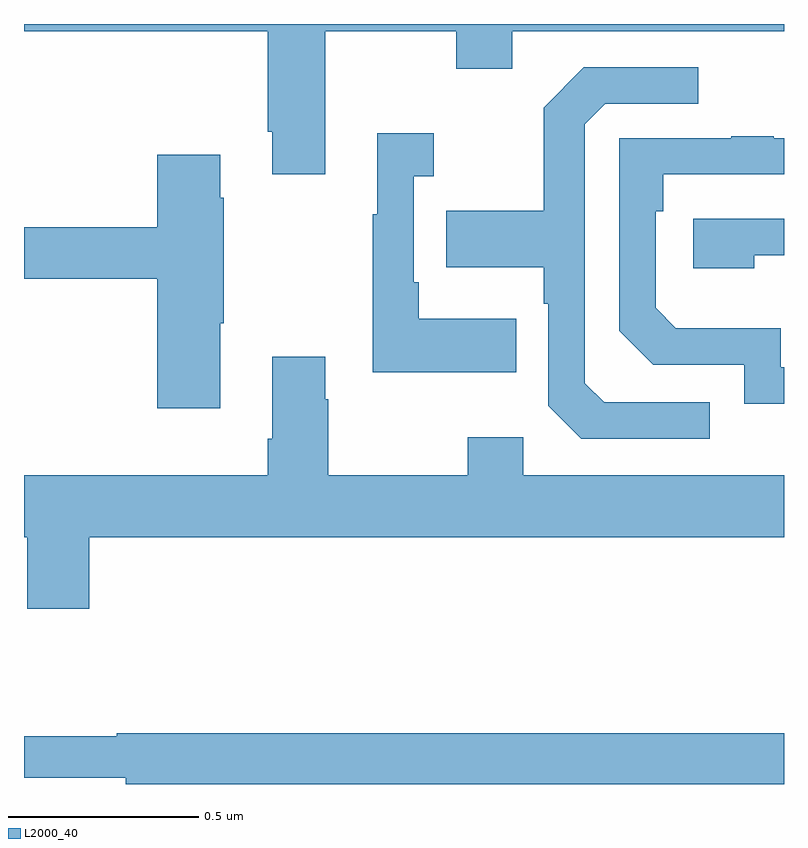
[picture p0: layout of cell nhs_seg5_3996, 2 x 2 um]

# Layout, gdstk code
import gdstk
lib = gdstk.Library(unit=1e-6, precision=1e-09)
def P(c, l, *ps):  # polygons
    for p in ps: c.add(gdstk.Polygon(p, *l))
L2000_40 = (2000, 40)

nhs_seg5_3996 = lib.new_cell('nhs_seg5_3996')
P(nhs_seg5_3996, L2000_40, [(165.793,836.78),(166.138,836.78),(166.138,836.681),(166.285,836.681),(166.285,836.78),(167,836.78),(167,836.799),(165,836.799),(165,836.78),(165.641,836.78),(165.641,836.515),(165.653,836.515),(165.653,836.403),(165.793,836.403)],
  [(166.804,835.803),(166.527,835.803),(166.476,835.854),(166.476,836.535),(166.53,836.589),(166.774,836.589),(166.774,836.685),(166.473,836.685),(166.368,836.579),(166.368,836.307),(166.111,836.307),(166.111,836.159),(166.368,836.159),(166.368,836.063),(166.38,836.063),(166.38,835.794),(166.467,835.707),(166.804,835.707)],
  [(166.295,836.023),(166.039,836.023),(166.039,836.119),(166.026,836.119),(166.026,836.399),(166.078,836.399),(166.078,836.512),(165.929,836.512),(165.929,836.299),(165.918,836.299),(165.918,835.883),(166.295,835.883)],
  [(167,835.896),(166.992,835.896),(166.992,835.999),(166.715,835.999),(166.662,836.052),(166.662,836.306),(166.682,836.306),(166.682,836.403),(167,836.403),(167,836.499),(166.973,836.499),(166.973,836.504),(166.861,836.504),(166.861,836.499),(166.566,836.499),(166.566,835.992),(166.656,835.902),(166.896,835.902),(166.896,835.8),(167,835.8)],
  [(165.517,836.011),(165.525,836.011),(165.525,836.342),(165.517,836.342),(165.517,836.455),(165.35,836.455),(165.35,836.264),(165,836.264),(165,836.128),(165.35,836.128),(165.35,835.788),(165.517,835.788)],
  [(166.922,836.19),(167,836.19),(167,836.286),(166.761,836.286),(166.761,836.156),(166.922,836.156)],
  [(165.172,835.448),(167,835.448),(167,835.612),(166.314,835.612),(166.314,835.711),(166.168,835.711),(166.168,835.612),(165.801,835.612),(165.801,835.811),(165.793,835.811),(165.793,835.924),(165.653,835.924),(165.653,835.708),(165.641,835.708),(165.641,835.612),(165,835.612),(165,835.448),(165.008,835.448),(165.008,835.26),(165.172,835.26)],
  [(167,834.932),(165.244,834.932),(165.244,834.925),(165,834.925),(165,834.815),(165.268,834.815),(165.268,834.799),(167,834.799)])

lib.write_gds('nhs_seg5_3996.gds')
